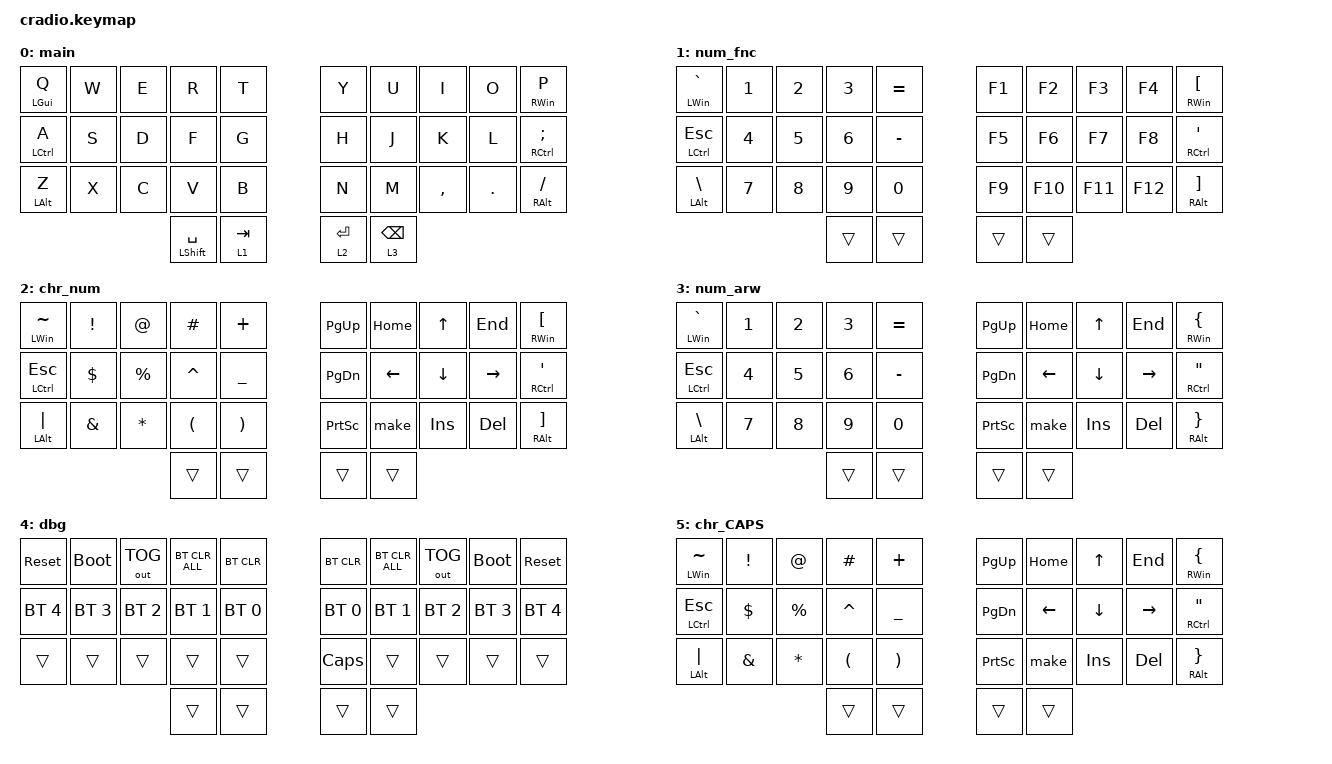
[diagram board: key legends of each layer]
// Copyright (c) 2022 The ZMK Contributors
// SPDX-License-Identifier: MIT

#include <behaviors.dtsi>
#include <dt-bindings/zmk/bt.h>
#include <dt-bindings/zmk/keys.h>
#include <dt-bindings/zmk/outputs.h>

/ {
    behaviors {
        ht: hold_tap {
            compatible = "zmk,behavior-hold-tap";
            #binding-cells = <2>;
            flavor = "tap-preferred";
            tapping-term-ms = <220>;
            quick-tap-ms = <150>;
            require-prior-idle-ms = <100>;
            bindings = <&kp>, <&kp>;
        };

        hrm: hrm {
            compatible = "zmk,behavior-hold-tap";
            #binding-cells = <2>;
            flavor = "tap-preferred";
            tapping-term-ms = <200>;
            quick-tap-ms = <200>;
            require-prior-idle-ms = <125>;
            bindings = <&kp>, <&kp>;
        };

        ltdt: ltdt {
            compatible = "zmk,behavior-hold-tap";
            label = "LTDT";
            #binding-cells = <2>;
            bindings = <&mo>, <&kp>;

            tapping-term-ms = <200>;
            quick-tap-ms = <150>;
            require-prior-idle-ms = <100>;
            flavor = "tap-preferred";
        };
    };

    conditional_layers {
        compatible = "zmk,conditional-layers";

        tri_layer {
            if-layers = <3 1 2>;
            then-layer = <4>;
        };

        two_layers {
            if-layers = <2 3>;
            then-layer = <5>;
        };
    };

    macros {
        make: make {
            compatible = "zmk,behavior-macro";
            #binding-cells = <0>;
            bindings = <&kp LS(M) &kp A &kp K &kp E &kp SPACE &kp R &kp T &kp SPACE &kp G &kp R &kp E &kp A &kp T &kp SPACE &kp A &kp G &kp A &kp I &kp N &kp EXCL>;
            label = "make";
        };
    };

    keymap {
        compatible = "zmk,keymap";

        main_layer {
            bindings = <
&hrm LEFT_GUI Q      &kp W  &kp E  &kp R                 &kp T          &kp Y          &kp U              &kp I      &kp O    &hrm RIGHT_WIN P
&hrm LEFT_CONTROL A  &kp S  &kp D  &kp F                 &kp G          &kp H          &kp J              &kp K      &kp L    &hrm RCTRL SEMI
&hrm LEFT_ALT Z      &kp X  &kp C  &kp V                 &kp B          &kp N          &kp M              &kp COMMA  &kp DOT  &hrm RIGHT_ALT SLASH
                                   &mt LEFT_SHIFT SPACE  &ltdt 1 TAB    &ltdt 2 ENTER  &ltdt 3 BACKSPACE
            >;

            label = "main";
        };

        Numbers_n_Functions {
            bindings = <
&hrm LWIN GRAVE      &kp N1  &kp N2  &kp N3  &kp EQUAL    &kp F1  &kp F2   &kp F3   &kp F4   &hrm RWIN LEFT_BRACKET
&hrm LCTRL ESCAPE    &kp N4  &kp N5  &kp N6  &kp MINUS    &kp F5  &kp F6   &kp F7   &kp F8   &hrm RCTRL SQT
&hrm LALT BACKSLASH  &kp N7  &kp N8  &kp N9  &kp N0       &kp F9  &kp F10  &kp F11  &kp F12  &hrm RALT RIGHT_BRACKET
                                     &trans  &trans       &trans  &trans
            >;

            label = "num_fnc";
        };

        Characters_n_Numbers {
            bindings = <
&hrm LWIN TILDE  &kp EXCLAMATION  &kp AT_SIGN   &kp HASH              &kp PLUS                 &kp PG_UP        &kp HOME  &kp UP    &kp END    &hrm RWIN LBKT
&hrm LCTRL ESC   &kp DOLLAR       &kp PERCENT   &kp CARET             &kp UNDERSCORE           &kp PG_DN        &kp LEFT  &kp DOWN  &kp RIGHT  &hrm RCTRL SQT
&hrm LALT PIPE   &kp AMPERSAND    &kp ASTERISK  &kp LEFT_PARENTHESIS  &kp RIGHT_PARENTHESIS    &kp PRINTSCREEN  &make     &kp INS   &kp DEL    &hrm RALT RBKT
                                                &trans                &trans                   &trans           &trans
            >;

            label = "chr_num";
        };

        Numbers_n_Arrows {
            bindings = <
&hrm LWIN GRAVE      &kp N1  &kp N2  &kp N3  &kp EQUAL    &kp PG_UP        &kp HOME  &kp UP    &kp END    &hrm RWIN LBRC
&hrm LCTRL ESCAPE    &kp N4  &kp N5  &kp N6  &kp MINUS    &kp PAGE_DOWN    &kp LEFT  &kp DOWN  &kp RIGHT  &hrm RCTRL DQT
&hrm LALT BACKSLASH  &kp N7  &kp N8  &kp N9  &kp N0       &kp PRINTSCREEN  &make     &kp INS   &kp DEL    &hrm RALT RBRC
                                     &trans  &trans       &trans           &trans
            >;

            label = "num_arw";
        };

        Debug {
            bindings = <
&sys_reset    &bootloader   &out OUT_TOG  &bt BT_CLR_ALL  &bt BT_CLR      &bt BT_CLR    &bt BT_CLR_ALL  &out OUT_TOG  &bootloader   &sys_reset
&bt BT_SEL 4  &bt BT_SEL 3  &bt BT_SEL 2  &bt BT_SEL 1    &bt BT_SEL 0    &bt BT_SEL 0  &bt BT_SEL 1    &bt BT_SEL 2  &bt BT_SEL 3  &bt BT_SEL 4
&trans        &trans        &trans        &trans          &trans          &kp CAPS      &trans          &trans        &trans        &trans
                                          &trans          &trans          &trans        &trans
            >;

            label = "dbg";
        };

        Capitals {
            label = "chr_CAPS";
            bindings = <
&hrm LWIN TILDE  &kp EXCLAMATION  &kp AT_SIGN   &kp HASH              &kp PLUS                 &kp PG_UP        &kp HOME  &kp UP    &kp END    &hrm RWIN LBRC
&hrm LCTRL ESC   &kp DOLLAR       &kp PERCENT   &kp CARET             &kp UNDERSCORE           &kp PG_DN        &kp LEFT  &kp DOWN  &kp RIGHT  &hrm RCTRL DQT
&hrm LALT PIPE   &kp AMPERSAND    &kp ASTERISK  &kp LEFT_PARENTHESIS  &kp RIGHT_PARENTHESIS    &kp PRINTSCREEN  &make     &kp INS   &kp DEL    &hrm RALT RBRC
                                                &trans                &trans                   &trans           &trans
            >;
        };
    };
};
